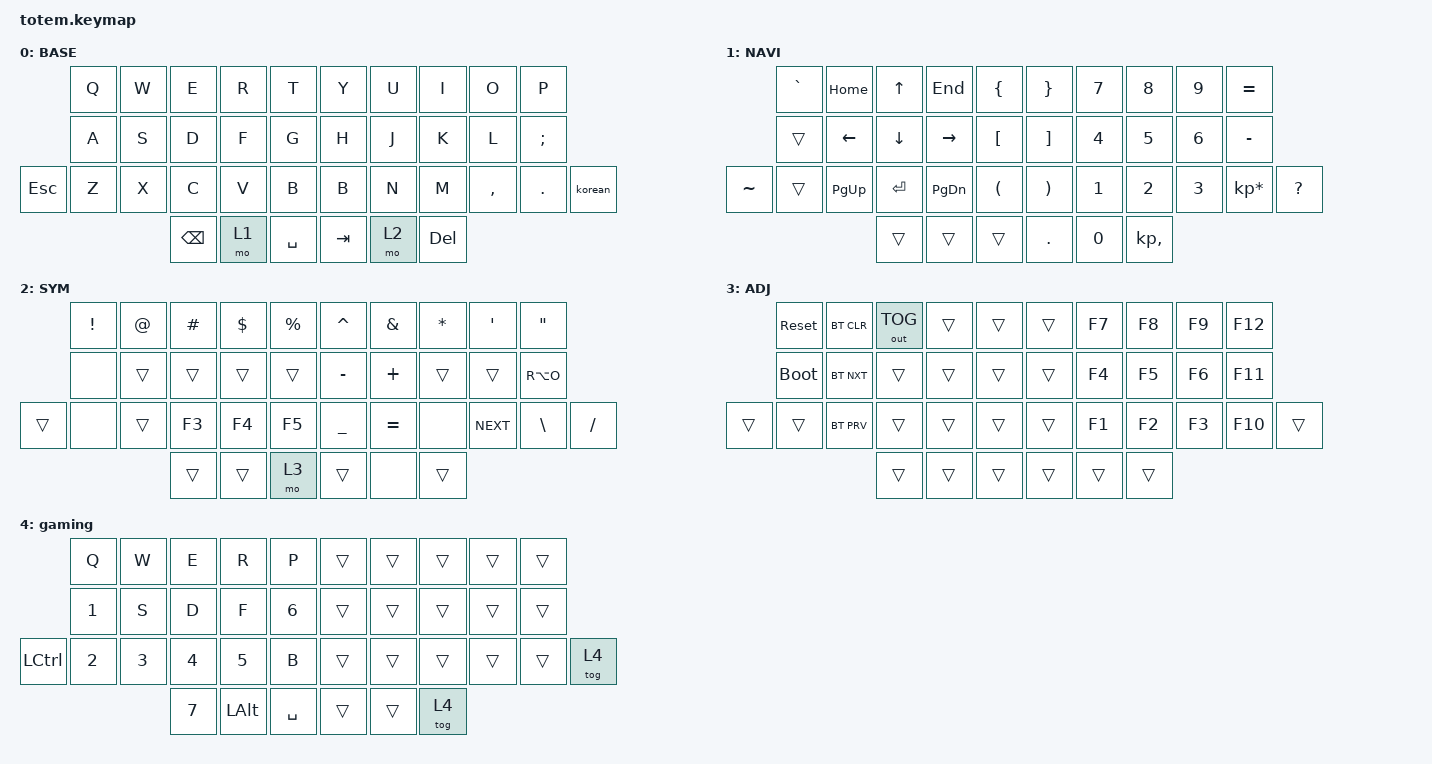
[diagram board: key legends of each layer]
//
//                                                        ▀▀▀▀▀     ▀▀▀▀▀          ▀▀█▀▀
//                                                        ▄▀▀▀▄  ▄  ▄▀▀▀▄  ▄  ▄▀▀▀▄  █  ▄▀▀▀▄
//                                                        █   █  █  █   █  █  █   █  █  █   █
//                                                         ▀▀▀   █   ▀▀▀   █   ▀▀▀   ▀   ▀▀▀
//                                                               █      ▄▄▄█▄▄▄    █   █  
//                                                               ▀      █  █  █     █▄█
//                                                             ▀▀▀▀▀    █  █  █      ▀
//                                                                      ▀  ▀  ▀
//
// ▄▄▄▄▄▄▄▄▄▄▄▄▄▄▄▄▄▄▄▄▄▄▄▄▄▄▄▄▄▄▄▄▄▄▄▄▄▄▄▄▄▄▄▄▄▄▄▄▄▄▄▄▄▄▄▄▄▄▄▄▄▄▄▄▄▄▄▄▄▄▄▄▄▄▄▄▄▄▄▄▄▄▄▄▄▄▄▄▄▄▄▄▄▄▄▄▄▄▄▄▄▄▄▄▄▄▄▄▄▄▄▄▄▄▄▄▄▄▄▄▄▄▄▄▄▄▄▄▄▄▄▄▄▄▄▄▄▄▄▄▄▄▄▄▄▄▄▄▄

#include <behaviors.dtsi>
#include <dt-bindings/zmk/bt.h>
#include <dt-bindings/zmk/keys.h>
#include <dt-bindings/zmk/outputs.h>

#define BASE 0
#define NAV  1
#define SYM  2
#define ADJ  3
#define TVP1 4
#define TVP2 5

&mt {
    quick-tap-ms = <150>;
    global-quick-tap;
    flavor = "tap-preferred";
    tapping-term-ms = <170>;
};

/ {
    combos {
        compatible = "zmk,combos";

        shift {
            bindings = <&kp LEFT_SHIFT>;
            key-positions = <34 13>;
            timeout-ms = <120>;
        };

        ctrl {
            bindings = <&kp LCTRL>;
            key-positions = <34 12>;
            timeout-ms = <120>;
        };

        alt {
            bindings = <&kp LEFT_ALT>;
            key-positions = <34 20>;
            timeout-ms = <80>;
        };

        rightshfht {
            bindings = <&kp LEFT_SHIFT>;
            key-positions = <35 16>;
            timeout-ms = <120>;
        };

        rightctrl {
            bindings = <&kp LCTRL>;
            key-positions = <35 17>;
            timeout-ms = <120>;
        };

        ralt {
            bindings = <&kp LEFT_ALT>;
            key-positions = <35 18>;
            timeout-ms = <120>;
        };
    };

    behaviors {
        korean: korean {
            compatible = "zmk,behavior-tap-dance";
            label = "KOREAN";
            #binding-cells = <0>;
            bindings = <&kp SQT>, <&kp RIGHT_ALT>;
        };
    };

    keymap {
        compatible = "zmk,keymap";

        // ▄▄▄▄▄▄▄▄▄▄▄▄▄▄▄▄▄▄▄▄▄▄▄▄▄▄▄▄▄▄▄▄▄▄▄▄▄▄▄▄▄▄▄▄▄▄▄▄▄▄▄▄▄▄▄▄▄▄▄▄▄▄▄▄▄▄▄▄▄▄▄▄▄▄▄▄▄▄▄▄▄▄▄▄▄▄▄▄▄▄▄▄▄▄▄▄▄▄▄▄▄▄▄▄▄▄▄▄▄▄▄▄▄▄▄▄▄▄▄▄▄▄▄▄▄▄▄▄▄▄▄▄▄▄▄▄▄▄▄▄▄▄▄▄▄▄▄▄▄

        base_layer {
            // ┏━━━━━━━━━━━━━━━━━━━━━━━━━━━━━━━━━━━━━━━┓

            label = "BASE";

            // ┗━━━━━━━━━━━━━━━━━━━━━━━━━━━━━━━━━━━━━━━┛
            //             ┏━━━━━━━━━━━┳━━━━━━━━━━━┳━━━━━━━━━━━┳━━━━━━━━━━━┳━━━━━━━━━━━┓   ┏━━━━━━━━━━━┳━━━━━━━━━━━┳━━━━━━━━━━━┳━━━━━━━━━━━┳━━━━━━━━━━━┓
            //             ┃     Q     ┃     W     ┃     F     ┃     P     ┃     G     ┃   ┃     J     ┃     L     ┃     U     ┃     Y     ┃     ;     ┃
            //             ┣━━━━━━━━━━━╋━━━━━━━━━━━╋━━━━━━━━━━━╋━━━━━━━━━━━╋━━━━━━━━━━━┫   ┣━━━━━━━━━━━╋━━━━━━━━━━━╋━━━━━━━━━━━╋━━━━━━━━━━━╋━━━━━━━━━━━┫
            //             ┃     A     ┃     R     ┃     S     ┃     T     ┃     D     ┃   ┃     H     ┃     N     ┃     E     ┃     I     ┃     O     ┃
            // ┏━━━━━━━━━━━╋━━━━━━━━━━━╋━━━━━━━━━━━╋━━━━━━━━━━━╋━━━━━━━━━━━╋━━━━━━━━━━━┫   ┣━━━━━━━━━━━╋━━━━━━━━━━━╋━━━━━━━━━━━╋━━━━━━━━━━━╋━━━━━━━━━━━╋━━━━━━━━━━━┓
            // ┃     Q     ┃     Z     ┃     X     ┃     C     ┃     V     ┃     B     ┃   ┃     K     ┃     M     ┃     ,     ┃     .     ┃     /     ┃     \     ┃
            // ┗━━━━━━━━━━━┻━━━━━━━━━━━┻━━━━━━━━━━━╋━━━━━━━━━━━╋━━━━━━━━━━━╋━━━━━━━━━━━┫   ┣━━━━━━━━━━━╋━━━━━━━━━━━╋━━━━━━━━━━━╋━━━━━━━━━━━┻━━━━━━━━━━━┻━━━━━━━━━━━┛
            //                                     ┃    DEL    ┃    TAB    ┃    SPC    ┃   ┃   ENTER   ┃           ┃   BSPC    ┃
            //                                     ┗━━━━━━━━━━━┻━━━━━━━━━━━┻━━━━━━━━━━━┛   ┗━━━━━━━━━━━┻━━━━━━━━━━━┻━━━━━━━━━━━┛

            bindings = <
            &kp Q  &kp W  &kp E          &kp R  &kp T        &kp Y    &kp U  &kp I       &kp O      &kp P
            &kp A  &kp S  &kp D          &kp F  &kp G        &kp H    &kp J  &kp K       &kp L      &kp SEMICOLON
&kp ESCAPE  &kp Z  &kp X  &kp C          &kp V  &kp B        &kp B    &kp N  &kp M       &kp COMMA  &kp PERIOD     &korean
                          &kp BACKSPACE  &mo 1  &kp SPACE    &kp TAB  &mo 2  &kp DELETE
            >;
        };

        // ▄▄▄▄▄▄▄▄▄▄▄▄▄▄▄▄▄▄▄▄▄▄▄▄▄▄▄▄▄▄▄▄▄▄▄▄▄▄▄▄▄▄▄▄▄▄▄▄▄▄▄▄▄▄▄▄▄▄▄▄▄▄▄▄▄▄▄▄▄▄▄▄▄▄▄▄▄▄▄▄▄▄▄▄▄▄▄▄▄▄▄▄▄▄▄▄▄▄▄▄▄▄▄▄▄▄▄▄▄▄▄▄▄▄▄▄▄▄▄▄▄▄▄▄▄▄▄▄▄▄▄▄▄▄▄▄▄▄▄▄▄▄▄▄▄▄▄▄▄

        nav_layer {
            // ┏━━━━━━━━━━━━━━━━━━━━━━━━━━━━━━━━━━━━━━━┓

            label = "NAVI";

            // ┗━━━━━━━━━━━━━━━━━━━━━━━━━━━━━━━━━━━━━━━┛
            //             ┏━━━━━━━━━━━┳━━━━━━━━━━━┳━━━━━━━━━━━┳━━━━━━━━━━━┳━━━━━━━━━━━┓   ┏━━━━━━━━━━━┳━━━━━━━━━━━┳━━━━━━━━━━━┳━━━━━━━━━━━┳━━━━━━━━━━━┓
            //             ┃           ┃           ┃     UP    ┃           ┃     {     ┃   ┃     }     ┃     7     ┃     8     ┃     9     ┃     +     ┃
            //             ┣━━━━━━━━━━━╋━━━━━━━━━━━╋━━━━━━━━━━━╋━━━━━━━━━━━╋━━━━━━━━━━━┫   ┣━━━━━━━━━━━╋━━━━━━━━━━━╋━━━━━━━━━━━╋━━━━━━━━━━━╋━━━━━━━━━━━┫
            //             ┃   SHIFT   ┃   LEFT    ┃    DOWN   ┃   RIGHT   ┃     [     ┃   ┃     ]     ┃     4     ┃     5     ┃     6     ┃     -     ┃
            // ┏━━━━━━━━━━━╋━━━━━━━━━━━╋━━━━━━━━━━━╋━━━━━━━━━━━╋━━━━━━━━━━━╋━━━━━━━━━━━┫   ┣━━━━━━━━━━━╋━━━━━━━━━━━╋━━━━━━━━━━━╋━━━━━━━━━━━╋━━━━━━━━━━━╋━━━━━━━━━━━┓
            // ┃           ┃           ┃   P UP    ┃  C LOCK   ┃  P DOWN   ┃     (     ┃   ┃     )     ┃     1     ┃     2     ┃     3     ┃     *     ┃           ┃
            // ┗━━━━━━━━━━━┻━━━━━━━━━━━┻━━━━━━━━━━━╋━━━━━━━━━━━╋━━━━━━━━━━━╋━━━━━━━━━━━┫   ┣━━━━━━━━━━━╋━━━━━━━━━━━╋━━━━━━━━━━━╋━━━━━━━━━━━┻━━━━━━━━━━━┻━━━━━━━━━━━┛
            //                                     ┃           ┃    TAB    ┃    SPC    ┃   ┃    DEL    ┃     0     ┃           ┃
            //                                     ┗━━━━━━━━━━━┻━━━━━━━━━━━┻━━━━━━━━━━━┛   ┗━━━━━━━━━━━┻━━━━━━━━━━━┻━━━━━━━━━━━┛

            bindings = <
           &kp GRAVE  &kp HOME        &kp UP          &kp END          &kp LBRC    &kp RBRC    &kp N7        &kp N8        &kp N9        &kp EQUAL
           &trans     &kp LEFT_ARROW  &kp DOWN_ARROW  &kp RIGHT_ARROW  &kp LBKT    &kp RBKT    &kp NUMBER_4  &kp N5        &kp NUMBER_6  &kp MINUS
&kp TILDE  &trans     &kp PG_UP       &kp ENTER       &kp PG_DN        &kp LPAR    &kp RPAR    &kp NUMBER_1  &kp N2        &kp N3        &kp KP_MULTIPLY  &kp QUESTION
                                      &trans          &trans           &trans      &kp PERIOD  &kp N0        &kp KP_COMMA
            >;
        };

        // ▄▄▄▄▄▄▄▄▄▄▄▄▄▄▄▄▄▄▄▄▄▄▄▄▄▄▄▄▄▄▄▄▄▄▄▄▄▄▄▄▄▄▄▄▄▄▄▄▄▄▄▄▄▄▄▄▄▄▄▄▄▄▄▄▄▄▄▄▄▄▄▄▄▄▄▄▄▄▄▄▄▄▄▄▄▄▄▄▄▄▄▄▄▄▄▄▄▄▄▄▄▄▄▄▄▄▄▄▄▄▄▄▄▄▄▄▄▄▄▄▄▄▄▄▄▄▄▄▄▄▄▄▄▄▄▄▄▄▄▄▄▄▄▄▄▄▄▄▄

        sim_layer {
            // ┏━━━━━━━━━━━━━━━━━━━━━━━━━━━━━━━━━━━━━━━┓

            label = "SYM";

            // ┗━━━━━━━━━━━━━━━━━━━━━━━━━━━━━━━━━━━━━━━┛
            //             ┏━━━━━━━━━━━┳━━━━━━━━━━━┳━━━━━━━━━━━┳━━━━━━━━━━━┳━━━━━━━━━━━┓   ┏━━━━━━━━━━━┳━━━━━━━━━━━┳━━━━━━━━━━━┳━━━━━━━━━━━┳━━━━━━━━━━━┓
            //             ┃     !     ┃     @     ┃     #     ┃     $     ┃     %     ┃   ┃     ˆ     ┃     &     ┃     Ü     ┃     '     ┃     "     ┃
            //             ┣━━━━━━━━━━━╋━━━━━━━━━━━╋━━━━━━━━━━━╋━━━━━━━━━━━╋━━━━━━━━━━━┫   ┣━━━━━━━━━━━╋━━━━━━━━━━━╋━━━━━━━━━━━╋━━━━━━━━━━━╋━━━━━━━━━━━┫
            //             ┃     Ä     ┃           ┃    SZ     ┃           ┃           ┃   ┃   MUTE    ┃   YEN     ┃   EURO    ┃  POUND    ┃     Ö     ┃
            // ┏━━━━━━━━━━━╋━━━━━━━━━━━╋━━━━━━━━━━━╋━━━━━━━━━━━╋━━━━━━━━━━━╋━━━━━━━━━━━┫   ┣━━━━━━━━━━━╋━━━━━━━━━━━╋━━━━━━━━━━━╋━━━━━━━━━━━╋━━━━━━━━━━━╋━━━━━━━━━━━┓
            // ┃           ┃  EMAIL1   ┃  EMAIL2   ┃           ┃           ┃           ┃   ┃   VOL-    ┃   VOL+    ┃   LAST    ┃   NEXT    ┃     \     ┃           ┃
            // ┗━━━━━━━━━━━┻━━━━━━━━━━━┻━━━━━━━━━━━╋━━━━━━━━━━━╋━━━━━━━━━━━╋━━━━━━━━━━━┫   ┣━━━━━━━━━━━╋━━━━━━━━━━━╋━━━━━━━━━━━╋━━━━━━━━━━━┻━━━━━━━━━━━┻━━━━━━━━━━━┛
            //                                     ┃           ┃    GIF    ┃    ADJ    ┃   ┃           ┃           ┃           ┃
            //                                     ┗━━━━━━━━━━━┻━━━━━━━━━━━┻━━━━━━━━━━━┛   ┗━━━━━━━━━━━┻━━━━━━━━━━━┻━━━━━━━━━━━┛

            bindings = <
        &kp EXCL  &kp AT  &kp HASH  &kp DLLR  &kp PRCNT    &kp CARET  &kp AMPS   &kp ASTERISK  &kp SQT     &kp DQT
        &none     &trans  &trans    &trans    &trans       &kp MINUS  &kp PLUS   &trans        &trans      &kp RA(O)
&trans  &none     &trans  &kp F3    &kp F4    &kp F5       &kp UNDER  &kp EQUAL  &none         &kp C_NEXT  &kp BSLH   &kp SLASH
                          &trans    &trans    &mo 3        &trans     &none      &trans
            >;
        };

        // ▄▄▄▄▄▄▄▄▄▄▄▄▄▄▄▄▄▄▄▄▄▄▄▄▄▄▄▄▄▄▄▄▄▄▄▄▄▄▄▄▄▄▄▄▄▄▄▄▄▄▄▄▄▄▄▄▄▄▄▄▄▄▄▄▄▄▄▄▄▄▄▄▄▄▄▄▄▄▄▄▄▄▄▄▄▄▄▄▄▄▄▄▄▄▄▄▄▄▄▄▄▄▄▄▄▄▄▄▄▄▄▄▄▄▄▄▄▄▄▄▄▄▄▄▄▄▄▄▄▄▄▄▄▄▄▄▄▄▄▄▄▄▄▄▄▄▄▄▄

        adjust_layer {
            // ┏━━━━━━━━━━━━━━━━━━━━━━━━━━━━━━━━━━━━━━━┓

            label = "ADJ";

            // ┗━━━━━━━━━━━━━━━━━━━━━━━━━━━━━━━━━━━━━━━┛
            //             ┏━━━━━━━━━━━┳━━━━━━━━━━━┳━━━━━━━━━━━┳━━━━━━━━━━━┳━━━━━━━━━━━┓   ┏━━━━━━━━━━━┳━━━━━━━━━━━┳━━━━━━━━━━━┳━━━━━━━━━━━┳━━━━━━━━━━━┓
            //             ┃   RESET   ┃ BT CLEAR  ┃  OUT TOG  ┃           ┃           ┃   ┃           ┃    F7     ┃    F8     ┃    F9     ┃    F12    ┃
            //             ┣━━━━━━━━━━━╋━━━━━━━━━━━╋━━━━━━━━━━━╋━━━━━━━━━━━╋━━━━━━━━━━━┫   ┣━━━━━━━━━━━╋━━━━━━━━━━━╋━━━━━━━━━━━╋━━━━━━━━━━━╋━━━━━━━━━━━┫
            //             ┃ BOOTLOAD  ┃ BT NEXT   ┃           ┃           ┃           ┃   ┃           ┃    F4     ┃    F5     ┃    F6     ┃    F11    ┃
            // ┏━━━━━━━━━━━╋━━━━━━━━━━━╋━━━━━━━━━━━╋━━━━━━━━━━━╋━━━━━━━━━━━╋━━━━━━━━━━━┫   ┣━━━━━━━━━━━╋━━━━━━━━━━━╋━━━━━━━━━━━╋━━━━━━━━━━━╋━━━━━━━━━━━╋━━━━━━━━━━━┓
            // ┃           ┃           ┃ BT PREV   ┃           ┃           ┃           ┃   ┃           ┃    F1     ┃    F2     ┃    F3     ┃    F10    ┃           ┃
            // ┗━━━━━━━━━━━┻━━━━━━━━━━━┻━━━━━━━━━━━╋━━━━━━━━━━━╋━━━━━━━━━━━╋━━━━━━━━━━━┫   ┣━━━━━━━━━━━╋━━━━━━━━━━━╋━━━━━━━━━━━╋━━━━━━━━━━━┻━━━━━━━━━━━┻━━━━━━━━━━━┛
            //                                     ┃           ┃           ┃           ┃   ┃           ┃           ┃           ┃
            //                                     ┗━━━━━━━━━━━┻━━━━━━━━━━━┻━━━━━━━━━━━┛   ┗━━━━━━━━━━━┻━━━━━━━━━━━┻━━━━━━━━━━━┛

            bindings = <
        &sys_reset   &bt BT_CLR  &out OUT_TOG  &trans  &trans    &trans  &kp F7  &kp F8  &kp F9  &kp F12
        &bootloader  &bt BT_NXT  &trans        &trans  &trans    &trans  &kp F4  &kp F5  &kp F6  &kp F11
&trans  &trans       &bt BT_PRV  &trans        &trans  &trans    &trans  &kp F1  &kp F2  &kp F3  &kp F10  &trans
                                 &trans        &trans  &trans    &trans  &trans  &trans
            >;
        };

        // ▄▄▄▄▄▄▄▄▄▄▄▄▄▄▄▄▄▄▄▄▄▄▄▄▄▄▄▄▄▄▄▄▄▄▄▄▄▄▄▄▄▄▄▄▄▄▄▄▄▄▄▄▄▄▄▄▄▄▄▄▄▄▄▄▄▄▄▄▄▄▄▄▄▄▄▄▄▄▄▄▄▄▄▄▄▄▄▄▄▄▄▄▄▄▄▄▄▄▄▄▄▄▄▄▄▄▄▄▄▄▄▄▄▄▄▄▄▄▄▄▄▄▄▄▄▄▄▄▄▄▄▄▄▄▄▄▄▄▄▄▄▄▄▄▄▄▄▄▄
        // ▄▄▄▄▄▄▄▄▄▄▄▄▄▄▄▄▄▄▄▄▄▄▄▄▄▄▄▄▄▄▄▄▄▄▄▄▄▄▄▄▄▄▄▄▄▄▄▄▄▄▄▄▄▄▄▄▄▄▄▄▄▄▄▄▄▄▄▄▄▄▄▄▄▄▄▄▄▄▄▄▄▄▄▄▄▄▄▄▄▄▄▄▄▄▄▄▄▄▄▄▄▄▄▄▄▄▄▄▄▄▄▄▄▄▄▄▄▄▄▄▄▄▄▄▄▄▄▄▄▄▄▄▄▄▄▄▄▄▄▄▄▄▄▄▄▄▄▄▄

        gaming {
            bindings = <
           &kp Q   &kp W   &kp E   &kp R     &kp P        &trans  &trans  &trans  &trans  &trans
           &kp N1  &kp S   &kp D   &kp F     &kp N6       &trans  &trans  &trans  &trans  &trans
&kp LCTRL  &kp N2  &kp N3  &kp N4  &kp N5    &kp B        &trans  &trans  &trans  &trans  &trans  &tog 4
                           &kp N7  &kp LALT  &kp SPACE    &trans  &trans  &tog 4
            >;
        };
    };
};
